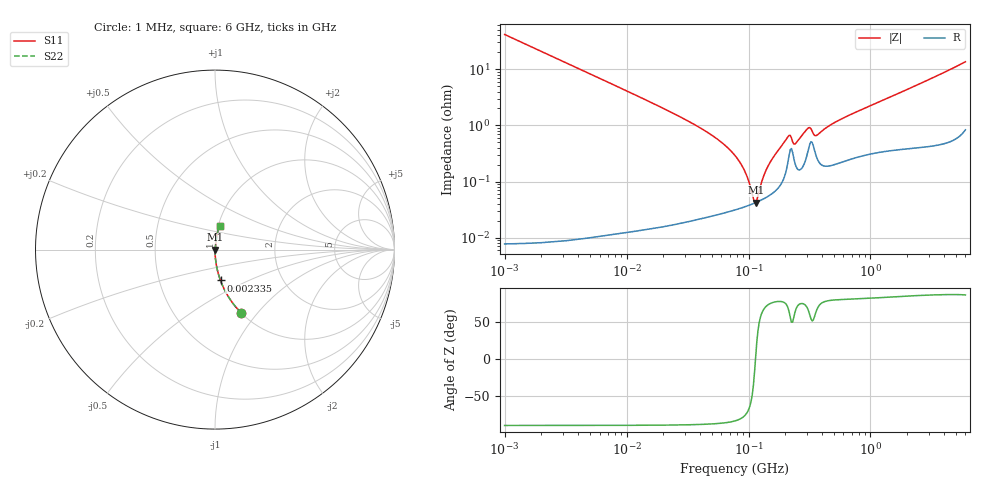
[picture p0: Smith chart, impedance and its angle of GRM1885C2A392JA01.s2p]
!Murata Part Number: GRM1885C2A392JA01
!These Parameters are Measured in Series Mode Connection
!Data Generated on Mar 30, 2021
!  o--ll--o
!Port1  Port2
!  o------o
!Operation Temp=25[degC], DC Bias Voltage=0[V]
!Freq. Start=1000[kHz] Stop=6[GHz] 401[Steps]
# Hz S RI R 50
!Freq.(Hz) S11(Real) S11(Imag) S21(Real) S21(Imag) S12(Real) S12(Imag) S22(Real) S22(Imag)
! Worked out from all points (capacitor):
!   401 points, 1 MHz to 6 GHz, reference 50 ohm
!   read as one part in series: C = 3.84 nF near 1.044 MHz
!   lowest |Z| = 42.2 mohm at 114.6 MHz (marker M1)
!   series resonance near 114.1 MHz, so ESL is about 510 pH
!   S11 on the Smith chart (normalised r, x): 1 MHz: 1.00, -0.83; 2.335 MHz: 1.00, -0.36; 6 GHz: 1.02, +0.27
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1000000  0.1469 -0.3539  0.8531 0.3539  0.8531 0.3539  0.1469 -0.3539
2335446  0.0306 -0.1721  0.9694 0.1721  0.9694 0.1721  0.0306 -0.1721
4293785  0.00931 -0.0956  0.9907 0.0956  0.9907 0.0956  0.00931 -0.0956
1.843659e7  0.000629 -0.0219  0.9994 0.0219  0.9994 0.0219  0.000629 -0.0219
4.697123e7  0.000287 -0.0073  0.9997 0.0073  0.9997 0.0073  0.000287 -0.0073
7.745967e7  0.00032 -0.00288  0.9997 0.00288  0.9997 0.00288  0.00032 -0.00288
9.218041e7  0.000354 -0.00156  0.9996 0.00156  0.9996 0.00156  0.000354 -0.00156
9.83954e7  0.000371 -0.00108  0.9996 0.00108  0.9996 0.00108  0.000371 -0.00108
1.096987e8  0.000405 -0.000286  0.9996 0.000286  0.9996 0.000286  0.000405 -0.000286
1.145757e8  0.000421 3.32e-05  0.9996 -3.32e-05  0.9996 -3.32e-05  0.000421 3.32e-05
1.196694e8  0.000439 0.000354  0.9996 -0.000354  0.9996 -0.000354  0.000439 0.000354
1.334167e8  0.000494 0.00117  0.9995 -0.00117  0.9995 -0.00117  0.000494 0.00117
1.455431e8  0.000553 0.00185  0.9994 -0.00185  0.9994 -0.00185  0.000553 0.00185
2.061188e8  0.00178 0.00556  0.9982 -0.00556  0.9982 -0.00556  0.00178 0.00556
2.152823e8  0.00297 0.0059  0.997 -0.0059  0.997 -0.0059  0.00297 0.0059
2.400133e8  0.00214 0.00412  0.9979 -0.00412  0.9979 -0.00412  0.00214 0.00412
3.048839e8  0.0033 0.00806  0.9967 -0.00806  0.9967 -0.00806  0.0033 0.00806
3.325952e8  0.00495 0.00611  0.995 -0.00611  0.995 -0.00611  0.00495 0.00611
3.628252e8  0.00268 0.00607  0.9973 -0.00607  0.9973 -0.00607  0.00268 0.00607
5.60538e8  0.00229 0.0123  0.9977 -0.0123  0.9977 -0.0123  0.00229 0.0123
1.428092e9  0.00447 0.031  0.9955 -0.031  0.9955 -0.031  0.00447 0.031
6e9  0.0258 0.1309  0.9742 -0.1309  0.9742 -0.1309  0.0258 0.1309
